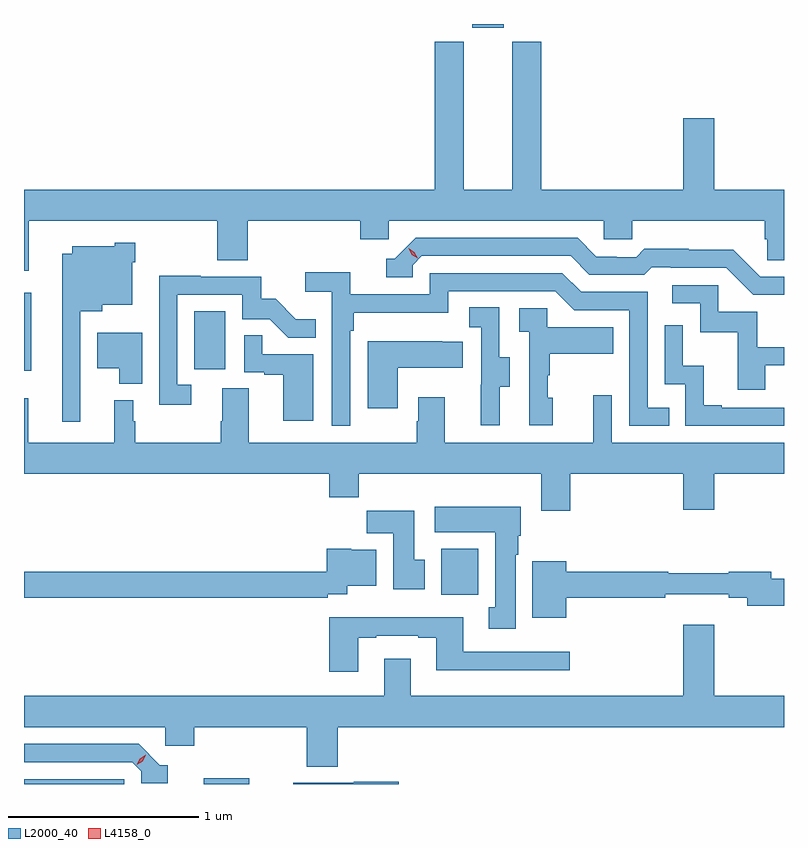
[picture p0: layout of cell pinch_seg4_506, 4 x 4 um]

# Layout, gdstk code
import gdstk
lib = gdstk.Library(unit=1e-6, precision=1e-09)
def R(c, l, rs):  # rectangles x0, y0, x1, y1
    for r in rs: c.add(gdstk.rectangle(r[:2], r[2:], *l))
def P(c, l, *ps):  # polygons
    for p in ps: c.add(gdstk.Polygon(p, *l))
L2000_40 = (2000, 40)
L4158_0 = (4158, 0)

pinch_seg4_506 = lib.new_cell('pinch_seg4_506')
R(pinch_seg4_506, L2000_40, [(1000.698,761.888,1001.226,761.913), (1001.645,761.888,1001.884,761.918), (1002.893,762.884,1003.09,763.126), (1000.698,764.063,1000.735,764.473), (1001.594,764.07,1001.758,764.377), (1003.058,765.867,1003.222,765.888)])
P(pinch_seg4_506, L2000_40, [(1000.698,764.589),(1000.722,764.589),(1000.722,764.852),(1001.716,764.852),(1001.716,764.644),(1001.876,764.644),(1001.876,764.852),(1002.467,764.852),(1002.467,764.754),(1002.618,764.754),(1002.618,764.852),(1003.749,764.852),(1003.749,764.754),(1003.899,764.754),(1003.899,764.852),(1004.597,764.852),(1004.597,764.754),(1004.611,764.754),(1004.611,764.644),(1004.698,764.644),(1004.698,765.016),(1004.332,765.016),(1004.332,765.391),(1004.168,765.391),(1004.168,765.016),(1003.421,765.016),(1003.421,765.795),(1003.268,765.795),(1003.268,765.016),(1003.012,765.016),(1003.012,765.795),(1002.86,765.795),(1002.86,765.016),(1000.698,765.016)],
  [(1004.698,764.559),(1004.574,764.559),(1004.432,764.701),(1004.196,764.701),(1004.196,764.704),(1003.963,764.704),(1003.921,764.661),(1003.818,764.661),(1003.818,764.664),(1003.711,764.664),(1003.612,764.763),(1002.759,764.763),(1002.648,764.652),(1002.605,764.652),(1002.605,764.556),(1002.744,764.556),(1002.744,764.619),(1002.792,764.667),(1003.575,764.667),(1003.674,764.568),(1003.963,764.568),(1004.002,764.607),(1004.101,764.607),(1004.101,764.604),(1004.394,764.604),(1004.535,764.463),(1004.698,764.463)],
  [(1000.995,764.375),(1001.11,764.375),(1001.11,764.411),(1001.269,764.411),(1001.269,764.633),(1001.283,764.633),(1001.283,764.737),(1001.175,764.737),(1001.175,764.719),(1000.952,764.719),(1000.952,764.68),(1000.898,764.68),(1000.898,763.794),(1000.995,763.794)],
  [(1002.414,764.273),(1002.434,764.273),(1002.434,764.369),(1002.93,764.369),(1002.93,764.481),(1003.494,764.481),(1003.593,764.382),(1003.884,764.382),(1003.884,763.773),(1004.093,763.773),(1004.093,763.869),(1003.98,763.869),(1003.98,764.478),(1003.63,764.478),(1003.531,764.577),(1002.834,764.577),(1002.834,764.466),(1002.416,764.466),(1002.416,764.582),(1002.177,764.582),(1002.177,764.48),(1002.318,764.48),(1002.318,763.773),(1002.414,763.773)],
  [(1001.578,763.989),(1001.505,763.989),(1001.505,764.463),(1001.847,764.463),(1001.847,764.334),(1001.991,764.334),(1002.089,764.236),(1002.233,764.236),(1002.233,764.335),(1002.129,764.335),(1002.022,764.442),(1001.946,764.442),(1001.946,764.559),(1001.627,764.559),(1001.627,764.564),(1001.409,764.564),(1001.409,763.884),(1001.578,763.884)],
  [(1004.599,764.091),(1004.698,764.091),(1004.698,764.187),(1004.557,764.187),(1004.557,764.373),(1004.352,764.373),(1004.352,764.514),(1004.109,764.514),(1004.109,764.418),(1004.256,764.418),(1004.256,764.265),(1004.455,764.265),(1004.455,763.962),(1004.599,763.962)],
  [(1003.201,763.978),(1003.255,763.978),(1003.255,764.133),(1003.2,764.133),(1003.2,764.396),(1003.041,764.396),(1003.041,764.293),(1003.104,764.293),(1003.104,763.989),(1003.103,763.989),(1003.103,763.776),(1003.201,763.776)],
  [(1003.48,763.92),(1003.455,763.92),(1003.455,764.039),(1003.465,764.039),(1003.465,764.153),(1003.799,764.153),(1003.799,764.293),(1003.452,764.293),(1003.452,764.391),(1003.305,764.391),(1003.305,764.267),(1003.356,764.267),(1003.356,763.776),(1003.48,763.776)],
  [(1004.698,763.869),(1004.371,763.869),(1004.371,763.882),(1004.276,763.882),(1004.276,764.09),(1004.166,764.09),(1004.166,764.302),(1004.07,764.302),(1004.07,763.992),(1004.178,763.992),(1004.178,763.773),(1004.698,763.773)],
  [(1001.32,764.263),(1001.084,764.263),(1001.084,764.075),(1001.198,764.075),(1001.198,763.994),(1001.32,763.994)],
  [(1002.22,764.151),(1001.951,764.151),(1001.951,764.249),(1001.856,764.249),(1001.856,764.055),(1001.963,764.055),(1001.963,764.043),(1002.062,764.043),(1002.062,763.8),(1002.22,763.8)],
  [(1002.664,764.078),(1003.007,764.078),(1003.007,764.215),(1002.899,764.215),(1002.899,764.218),(1002.506,764.218),(1002.506,763.866),(1002.664,763.866)],
  [(1003.574,763.52),(1004.168,763.52),(1004.168,763.332),(1004.332,763.332),(1004.332,763.52),(1004.698,763.52),(1004.698,763.684),(1003.791,763.684),(1003.791,763.933),(1003.694,763.933),(1003.694,763.684),(1002.913,763.684),(1002.913,763.924),(1002.773,763.924),(1002.773,763.796),(1002.766,763.796),(1002.766,763.684),(1001.881,763.684),(1001.881,763.97),(1001.741,763.97),(1001.741,763.796),(1001.734,763.796),(1001.734,763.684),(1001.284,763.684),(1001.284,763.796),(1001.272,763.796),(1001.272,763.909),(1001.174,763.909),(1001.174,763.684),(1000.721,763.684),(1000.721,763.918),(1000.698,763.918),(1000.698,763.52),(1002.305,763.52),(1002.305,763.396),(1002.461,763.396),(1002.461,763.52),(1003.421,763.52),(1003.421,763.326),(1003.574,763.326)],
  [(1003.285,763.094),(1003.3,763.094),(1003.3,763.194),(1003.312,763.194),(1003.312,763.348),(1002.861,763.348),(1002.861,763.214),(1003.178,763.214),(1003.178,762.818),(1003.145,762.818),(1003.145,762.705),(1003.285,762.705)],
  [(1002.808,763.068),(1002.751,763.068),(1002.751,763.327),(1002.502,763.327),(1002.502,763.208),(1002.641,763.208),(1002.641,762.912),(1002.808,762.912)],
  [(1002.296,762.888),(1002.399,762.888),(1002.399,762.932),(1002.553,762.932),(1002.553,763.12),(1002.42,763.12),(1002.42,763.126),(1002.291,763.126),(1002.291,763.004),(1000.698,763.004),(1000.698,762.868),(1002.296,762.868)],
  [(1003.552,762.868),(1004.072,762.868),(1004.072,762.887),(1004.408,762.887),(1004.408,762.868),(1004.504,762.868),(1004.504,762.826),(1004.698,762.826),(1004.698,762.968),(1004.632,762.968),(1004.632,763.004),(1004.408,763.004),(1004.408,762.997),(1004.088,762.997),(1004.088,763.004),(1003.552,763.004),(1003.552,763.06),(1003.373,763.06),(1003.373,762.764),(1003.552,762.764)],
  [(1002.457,762.657),(1002.553,762.657),(1002.553,762.669),(1002.773,762.669),(1002.773,762.657),(1002.869,762.657),(1002.869,762.488),(1003.57,762.488),(1003.57,762.585),(1003.009,762.585),(1003.009,762.766),(1002.305,762.766),(1002.305,762.48),(1002.457,762.48)],
  [(1002.35,762.188),(1004.698,762.188),(1004.698,762.352),(1004.332,762.352),(1004.332,762.727),(1004.168,762.727),(1004.168,762.352),(1002.733,762.352),(1002.733,762.547),(1002.593,762.547),(1002.593,762.352),(1000.698,762.352),(1000.698,762.188),(1001.442,762.188),(1001.442,762.09),(1001.594,762.09),(1001.594,762.188),(1002.185,762.188),(1002.185,761.98),(1002.35,761.98)],
  [(1001.455,761.988),(1001.412,761.988),(1001.301,762.099),(1000.698,762.099),(1000.698,762.003),(1001.268,762.003),(1001.316,761.955),(1001.316,761.892),(1001.455,761.892)],
  [(1002.671,761.9),(1002.433,761.9),(1002.433,761.895),(1002.115,761.895),(1002.115,761.888),(1002.671,761.888)])
P(pinch_seg4_506, L4158_0, [(1001.291,761.99),(1001.291,761.99),(1001.308,762.022),(1001.338,762.041),(1001.339,762.041),(1001.339,762.041),(1001.322,762.009),(1001.291,761.99)],
  [(1002.77,764.654),(1002.739,764.674),(1002.722,764.706),(1002.722,764.707),(1002.723,764.707),(1002.753,764.687),(1002.77,764.654),(1002.77,764.654)])

lib.write_gds('pinch_seg4_506.gds')
